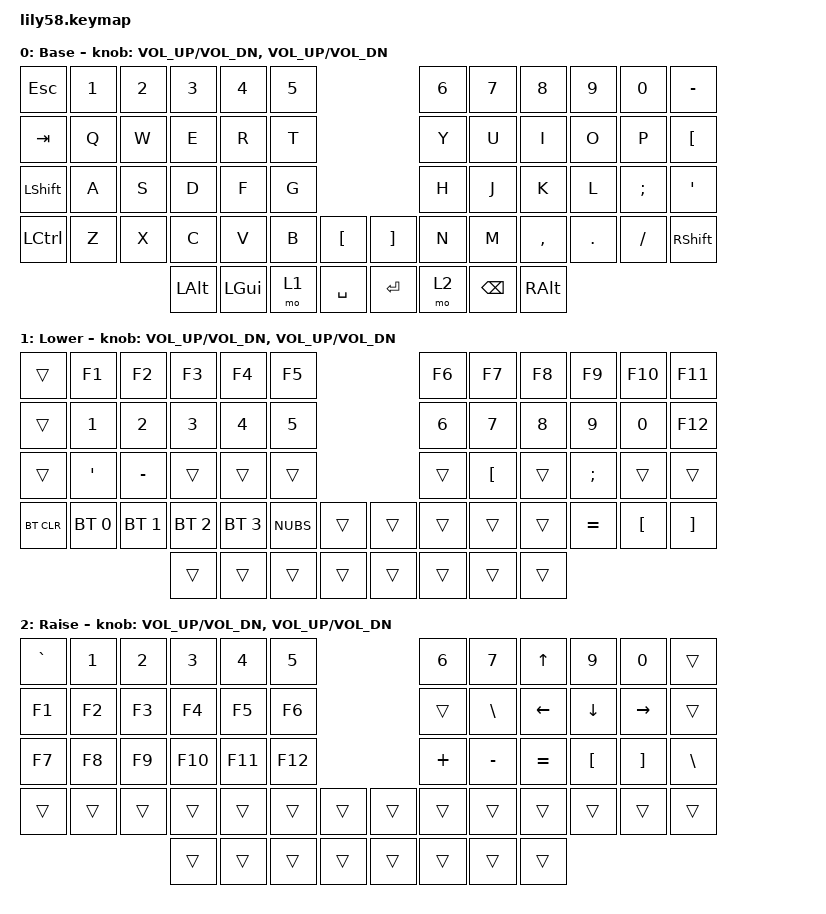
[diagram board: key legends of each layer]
#include <behaviors.dtsi>
#include <dt-bindings/zmk/keys.h>
#include <dt-bindings/zmk/bt.h>

/ {
    keymap {
        compatible = "zmk,keymap";

        default_layer {
            label = "Base";
            bindings = <
&kp ESC    &kp N1  &kp N2  &kp N3    &kp N4    &kp N5                        &kp N6  &kp N7   &kp N8     &kp N9   &kp N0    &kp MINUS
&kp TAB    &kp Q   &kp W   &kp E     &kp R     &kp T                         &kp Y   &kp U    &kp I      &kp O    &kp P     &kp LBKT
&kp LSHFT  &kp A   &kp S   &kp D     &kp F     &kp G                         &kp H   &kp J    &kp K      &kp L    &kp SEMI  &kp SQT
&kp LCTRL  &kp Z   &kp X   &kp C     &kp V     &kp B   &kp LBKT   &kp RBKT   &kp N   &kp M    &kp COMMA  &kp DOT  &kp FSLH  &kp RSHFT
                           &kp LALT  &kp LGUI  &mo 1   &kp SPACE  &kp RET    &mo 2   &kp BSPC &kp RALT
            >;
            sensor-bindings = <&inc_dec_kp C_VOL_UP C_VOL_DN &inc_dec_kp C_VOL_UP C_VOL_DN>;
        };

        lower_layer {
            label = "Lower";
            bindings = <
&trans      &kp F1        &kp F2        &kp F3        &kp F4        &kp F5                          &kp F6    &kp F7    &kp F8   &kp F9    &kp F10  &kp F11
&trans      &kp N1        &kp N2        &kp N3        &kp N4        &kp N5                          &kp N6    &kp N7    &kp N8   &kp N9    &kp N0   &kp F12
&trans      &kp SQT       &kp MINUS     &trans        &trans        &trans                          &trans    &kp LBKT  &trans   &kp SEMI  &trans   &trans
&bt BT_CLR  &bt BT_SEL 0  &bt BT_SEL 1  &bt BT_SEL 2  &bt BT_SEL 3  &kp NUBS  &trans     &trans     &trans    &trans    &trans   &kp EQUAL &kp LBKT &kp RBKT
                                        &trans        &trans        &trans    &trans     &trans     &trans    &trans    &trans
            >;
            sensor-bindings = <&inc_dec_kp C_VOL_UP C_VOL_DN &inc_dec_kp C_VOL_UP C_VOL_DN>;
        };

        raise_layer {
            label = "Raise";
            bindings = <
&kp GRAVE  &kp N1   &kp N2   &kp N3   &kp N4   &kp N5                      &kp N6    &kp N7    &kp UP    &kp N9     &kp N0    &trans
&kp F1     &kp F2   &kp F3   &kp F4   &kp F5   &kp F6                      &trans    &kp BSLH  &kp LEFT  &kp DOWN   &kp RIGHT &trans
&kp F7     &kp F8   &kp F9   &kp F10  &kp F11  &kp F12                     &kp PLUS  &kp MINUS &kp EQUAL &kp LBKT   &kp RBKT  &kp BSLH
&trans     &trans   &trans   &trans   &trans   &trans   &trans   &trans   &trans    &trans    &trans    &trans     &trans    &trans
                             &trans   &trans   &trans   &trans   &trans   &trans    &trans    &trans
            >;
            sensor-bindings = <&inc_dec_kp C_VOL_UP C_VOL_DN &inc_dec_kp C_VOL_UP C_VOL_DN>;
        };
    };
};
